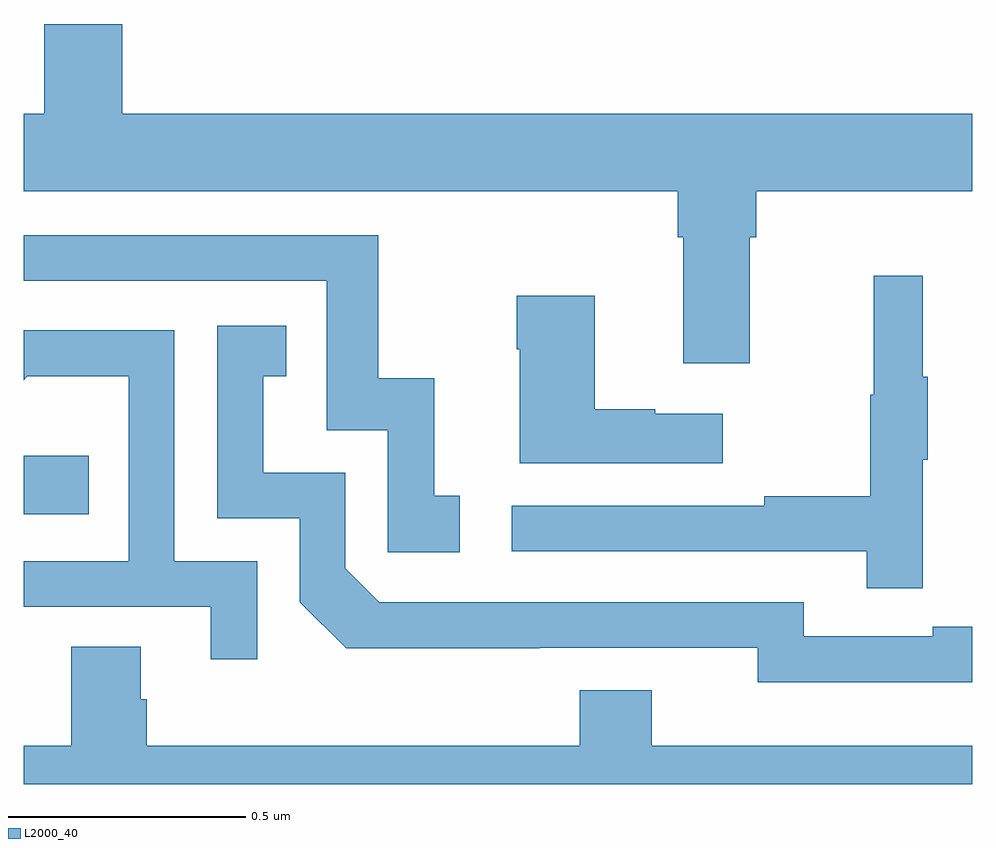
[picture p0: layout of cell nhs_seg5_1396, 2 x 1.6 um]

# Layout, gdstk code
import gdstk
lib = gdstk.Library(unit=1e-6, precision=1e-09)
def R(c, l, rs):  # rectangles x0, y0, x1, y1
    for r in rs: c.add(gdstk.rectangle(r[:2], r[2:], *l))
def P(c, l, *ps):  # polygons
    for p in ps: c.add(gdstk.Polygon(p, *l))
L2000_40 = (2000, 40)

nhs_seg5_1396 = lib.new_cell('nhs_seg5_1396')
R(nhs_seg5_1396, L2000_40, [(129,901.368,129.137,901.491)])
P(nhs_seg5_1396, L2000_40, [(130.531,901.952),(130.544,901.952),(130.544,902.048),(131,902.048),(131,902.212),(129.208,902.212),(129.208,902.401),(129.044,902.401),(129.044,902.212),(129,902.212),(129,902.048),(130.379,902.048),(130.379,901.952),(130.391,901.952),(130.391,901.686),(130.531,901.686)],
  [(129.919,901.407),(129.866,901.407),(129.866,901.654),(129.748,901.654),(129.748,901.956),(129,901.956),(129,901.86),(129.639,901.86),(129.639,901.545),(129.768,901.545),(129.768,901.287),(129.919,901.287)],
  [(130.895,901.483),(130.906,901.483),(130.906,901.657),(130.895,901.657),(130.895,901.87),(130.792,901.87),(130.792,901.62),(130.785,901.62),(130.785,901.406),(130.561,901.406),(130.561,901.386),(130.029,901.386),(130.029,901.29),(130.777,901.29),(130.777,901.212),(130.895,901.212)],
  [(130.474,901.579),(130.331,901.579),(130.331,901.589),(130.204,901.589),(130.204,901.828),(130.039,901.828),(130.039,901.715),(130.046,901.715),(130.046,901.475),(130.474,901.475)],
  [(130.916,901.014),(131,901.014),(131,901.13),(130.916,901.13),(130.916,901.11),(130.644,901.11),(130.644,901.182),(129.75,901.182),(129.678,901.254),(129.678,901.455),(129.505,901.455),(129.505,901.659),(129.554,901.659),(129.554,901.765),(129.408,901.765),(129.408,901.359),(129.582,901.359),(129.582,901.182),(129.68,901.085),(130.088,901.085),(130.088,901.086),(130.548,901.086),(130.548,901.013),(130.916,901.013)],
  [(129.492,901.269),(129.318,901.269),(129.318,901.755),(129,901.755),(129,901.65),(129.008,901.658),(129.222,901.658),(129.222,901.269),(129,901.269),(129,901.173),(129.395,901.173),(129.395,901.062),(129.492,901.062)],
  [(131,900.88),(130.324,900.88),(130.324,900.997),(130.172,900.997),(130.172,900.88),(129.26,900.88),(129.26,900.978),(129.247,900.978),(129.247,901.088),(129.1,901.088),(129.1,900.88),(129,900.88),(129,900.799),(131,900.799)])

lib.write_gds('nhs_seg5_1396.gds')
